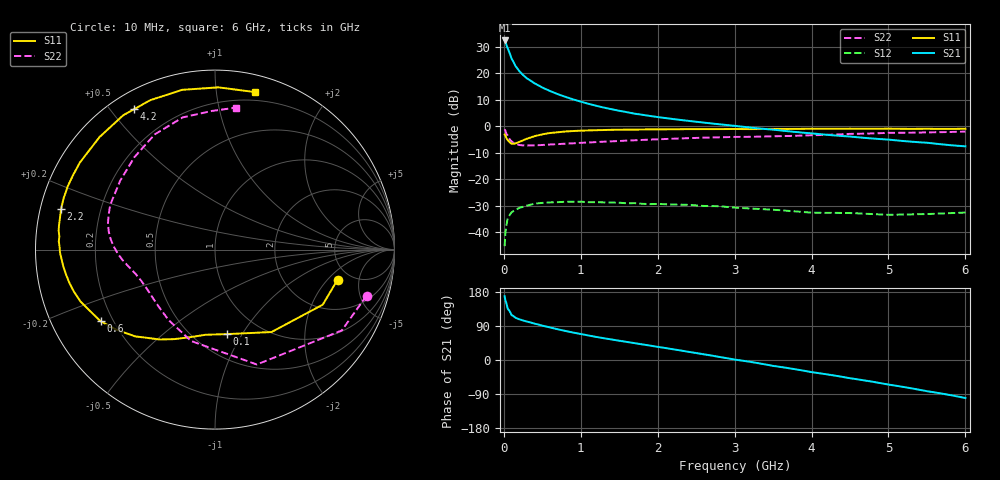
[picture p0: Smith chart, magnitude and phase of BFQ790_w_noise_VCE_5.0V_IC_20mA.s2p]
! (c) 2015  Infineon Technologies AG, Munich
! Infineon Technologies  Discrete & RF Semiconductors
! BFQ790
! VCE =  5.0 V,  IC =  20 mA
! Common Emitter S-Parameters:  May 2015
# GHz  S  MA  R  50
!  f  S11  S21  S12  S22
! GHz  MAG  ANG  MAG  ANG  MAG  ANG  MAG  ANG
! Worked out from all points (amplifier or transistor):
!   77 points, 10 MHz to 6 GHz, reference 50 ohm
!   highest |S21| = 32.5 dB at 10 MHz (marker M1)
!   |S21| within 3 dB of that: start of sweep to 50.93 MHz
!   unconditionally stable (mu >= 1): 2.008 GHz to end of sweep
!   at 130 MHz: K = 0.70, MSG = 28.0 dB, |S12| = -31.8 dB
!   at 2.2 GHz: K = 1.02, MAG = 15.2 dB, |S12| = -29.5 dB
!   at 6 GHz: K = 2.67, MAG = 5.4 dB, |S12| = -32.5 dB
!   lowest NFmin = 2.10 dB at 900 MHz
!   S11 on the Smith chart (normalised r, x): 10 MHz: 3.93, -2.61; 100 MHz: 0.71, -0.86; 600 MHz: 0.15, -0.28; 2.2 GHz: 0.06, +0.13; 4.2 GHz: 0.07, +0.58; 6 GHz: 0.13, +1.28
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0.01  0.7033 -13.8  42.01 168.5  0.0055 56.8  0.8824 -16.9
0.02  0.6741 -27.1  39.97 157.7  0.0097 64.2  0.838 -32.5
0.05  0.5568 -55.6  29.96 135.3  0.0186 42.1  0.6813 -70.0
0.1  0.4755 -81.9  19.16 118.7  0.024 27.7  0.5264 -104.7
0.15  0.4774 -96.3  13.95 111.7  0.0266 24.7  0.47 -123.3
0.2  0.5106 -106.7  11.14 107.5  0.029 21.4  0.4475 -134.1
0.25  0.5481 -114.5  9.352 104.3  0.0305 18.0  0.4394 -141.2
0.3  0.5875 -121.5  8.094 101.4  0.0321 14.7  0.4368 -146.3
0.4  0.657 -132.6  6.503 95.9  0.0349 11.5  0.4403 -153.1
0.5  0.7103 -141.3  5.433 90.6  0.0361 6.7  0.447 -157.5
0.6  0.7522 -148.0  4.671 85.9  0.0369 2.8  0.4561 -160.8
0.7  0.7771 -154.1  4.073 81.1  0.0372 -0.3  0.4642 -163.4
0.8  0.8033 -158.9  3.624 76.7  0.0379 -4.8  0.4726 -165.3
1.1  0.8416 -170.6  2.68 64.7  0.0372 -13.4  0.4983 -170.3
1.5  0.866 179.0  1.976 50.9  0.0364 -22.7  0.5313 -175.9
2.1  0.8831 167.3  1.441 31.6  0.034 -34.3  0.5794 175.2
2.2  0.8868 165.3  1.381 28.3  0.0336 -36.1  0.5873 173.6
3.1  0.8933 144.9  0.99 -1.7  0.0288 -52.1  0.6359 154.2
4.1  0.904 122.1  0.718 -34.9  0.0235 -59.2  0.6883 128.3
4.2  0.9029 119.9  0.696 -37.9  0.0234 -59.3  0.695 125.6
5.1  0.9042 99.1  0.547 -68.0  0.0216 -62.8  0.7582 101.2
6  0.9054 75.8  0.421 -100.4  0.0237 -66.8  0.8 81.5
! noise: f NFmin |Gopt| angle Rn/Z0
0.45  2.24  0.33  90  0.34
0.9  2.1  0.48  148  0.15
1.5  2.45  0.66  178  0.07
1.8  2.81  0.7  -175  0.07
2.6  3.89  0.76  -156  0.23
3.5  4.75  0.88  -138  0.78
